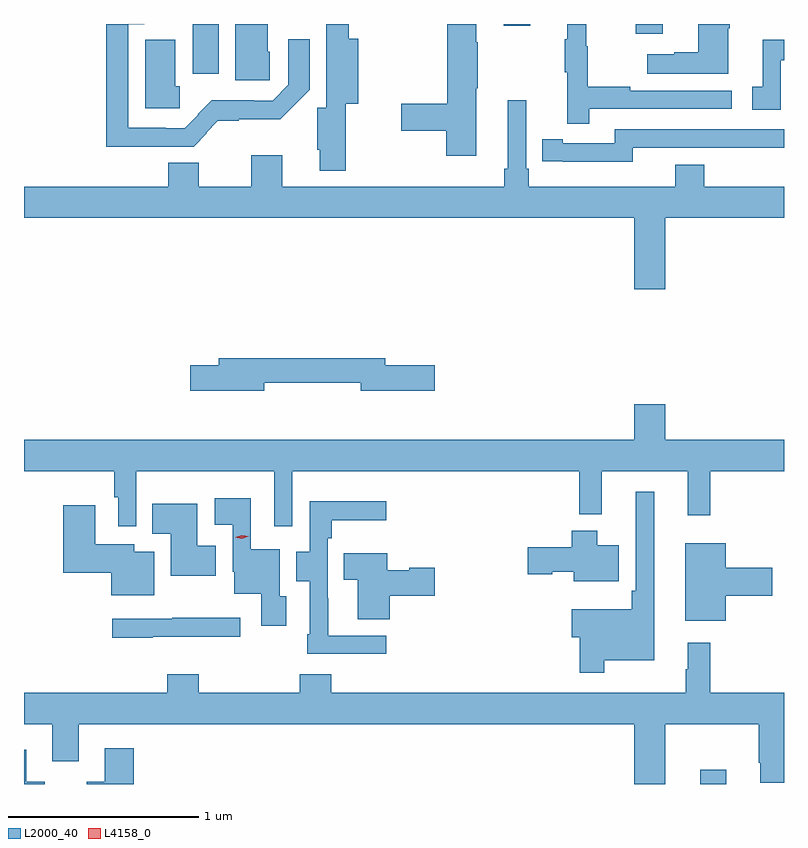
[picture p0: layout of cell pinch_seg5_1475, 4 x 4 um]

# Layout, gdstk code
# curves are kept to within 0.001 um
import gdstk
lib = gdstk.Library(unit=1e-6, precision=1e-09)
def R(c, l, rs):  # rectangles x0, y0, x1, y1
    for r in rs: c.add(gdstk.rectangle(r[:2], r[2:], *l))
def P(c, l, *ps):  # polygons
    for p in ps: c.add(gdstk.Polygon(p, *l))
L2000_40 = (2000, 40)
L4158_0 = (4158, 0)

pinch_seg5_1475 = lib.new_cell('pinch_seg5_1475')
R(pinch_seg5_1475, L2000_40, [(369.152,833.801,369.289,833.875), (366.479,837.54,366.616,837.801), (368.813,837.75,368.953,837.801), (368.117,837.792,368.257,837.801)])
P(pinch_seg5_1475, L2000_40, [(366.555,837.225),(366.551,837.229),(366.613,837.291),(366.721,837.291),(366.721,837.299),(366.941,837.299),(367.096,837.456),(367.096,837.721),(366.984,837.721),(366.984,837.48),(366.9,837.396),(366.8,837.396),(366.8,837.401),(366.581,837.401),(366.507,837.327),(366.51,837.324),(366.438,837.252),(366.338,837.252),(366.338,837.256),(366.141,837.256),(366.141,837.8),(366.224,837.801),(366.025,837.801),(366.025,837.155),(366.485,837.155)],
  [(366.885,837.654),(366.874,837.654),(366.874,837.801),(366.704,837.801),(366.704,837.504),(366.885,837.504)],
  [(367.286,837.38),(367.35,837.38),(367.35,837.724),(367.301,837.724),(367.301,837.801),(367.184,837.801),(367.184,837.36),(367.136,837.36),(367.136,837.139),(367.148,837.139),(367.148,837.029),(367.286,837.029)],
  [(368.567,837.354),(369.316,837.354),(369.316,837.45),(368.783,837.45),(368.783,837.47),(368.56,837.47),(368.56,837.684),(368.552,837.684),(368.552,837.801),(368.45,837.801),(368.45,837.721),(368.439,837.721),(368.439,837.547),(368.45,837.547),(368.45,837.276),(368.567,837.276)],
  [(369.298,837.779),(369.306,837.779),(369.306,837.801),(369.14,837.801),(369.14,837.653),(369.014,837.653),(369.014,837.643),(368.871,837.643),(368.871,837.539),(369.298,837.539)],
  [(367.972,837.463),(367.98,837.463),(367.98,837.704),(367.972,837.704),(367.972,837.801),(367.819,837.801),(367.819,837.38),(367.578,837.38),(367.578,837.238),(367.814,837.238),(367.814,837.108),(367.972,837.108)],
  [(366.411,837.474),(366.388,837.474),(366.388,837.719),(366.23,837.719),(366.23,837.357),(366.411,837.357)],
  [(369.576,837.609),(369.592,837.609),(369.592,837.718),(369.479,837.718),(369.479,837.471),(369.426,837.471),(369.426,837.351),(369.576,837.351)],
  [(368.968,836.78),(369.592,836.78),(369.592,836.944),(369.173,836.944),(369.173,837.061),(369.02,837.061),(369.02,836.944),(368.249,836.944),(368.249,837.04),(368.235,837.04),(368.235,837.4),(368.138,837.4),(368.138,837.04),(368.119,837.04),(368.119,836.944),(366.952,836.944),(366.952,837.109),(366.788,837.109),(366.788,836.944),(366.511,836.944),(366.511,837.07),(366.35,837.07),(366.35,836.944),(365.592,836.944),(365.592,836.78),(368.804,836.78),(368.804,836.406),(368.968,836.406)],
  [(368.796,837.15),(369.256,837.15),(369.256,837.149),(369.592,837.149),(369.592,837.246),(368.7,837.246),(368.7,837.174),(368.428,837.174),(368.428,837.194),(368.32,837.194),(368.32,837.078),(368.428,837.078),(368.428,837.077),(368.796,837.077)],
  [(366.856,835.914),(367.364,835.914),(367.364,835.871),(367.753,835.871),(367.753,836.006),(367.492,836.006),(367.492,836.042),(366.617,836.042),(366.617,836.006),(366.468,836.006),(366.468,835.871),(366.856,835.871)],
  [(366.183,835.448),(366.909,835.448),(366.909,835.158),(367.005,835.158),(367.005,835.448),(368.515,835.448),(368.515,835.22),(368.633,835.22),(368.633,835.448),(369.086,835.448),(369.086,835.215),(369.203,835.215),(369.203,835.448),(369.592,835.448),(369.592,835.612),(368.968,835.612),(368.968,835.801),(368.804,835.801),(368.804,835.612),(365.592,835.612),(365.592,835.448),(366.067,835.448),(366.067,835.311),(366.087,835.311),(366.087,835.158),(366.183,835.158)],
  [(368.647,834.452),(368.908,834.452),(368.908,835.339),(368.811,835.339),(368.811,834.817),(368.791,834.817),(368.791,834.721),(368.474,834.721),(368.474,834.574),(368.518,834.574),(368.518,834.387),(368.647,834.387)],
  [(366.973,834.789),(366.937,834.789),(366.937,835.036),(366.786,835.036),(366.786,835.306),(366.597,835.306),(366.597,835.166),(366.69,835.166),(366.69,834.918),(366.698,834.918),(366.698,834.803),(366.84,834.803),(366.84,834.633),(366.973,834.633)],
  [(367.498,834.582),(367.192,834.582),(367.192,834.779),(367.191,834.779),(367.191,835.094),(367.211,835.094),(367.211,835.19),(367.498,835.19),(367.498,835.288),(367.095,835.288),(367.095,835.023),(367.025,835.023),(367.025,834.868),(367.095,834.868),(367.095,834.589),(367.083,834.589),(367.083,834.486),(367.498,834.486)],
  [(366.601,835.054),(366.505,835.054),(366.505,835.276),(366.268,835.276),(366.268,835.118),(366.365,835.118),(366.365,834.896),(366.601,834.896)],
  [(366.277,835.024),(366.172,835.024),(366.172,835.062),(365.968,835.062),(365.968,835.267),(365.798,835.267),(365.798,834.914),(366.05,834.914),(366.05,834.794),(366.277,834.794)],
  [(368.722,835.057),(368.608,835.057),(368.608,835.135),(368.474,835.135),(368.474,835.047),(368.244,835.047),(368.244,834.905),(368.373,834.905),(368.373,834.917),(368.486,834.917),(368.486,834.869),(368.722,834.869)],
  [(369.286,834.791),(369.529,834.791),(369.529,834.938),(369.286,834.938),(369.286,835.069),(369.071,835.069),(369.071,834.659),(369.286,834.659)],
  [(367.517,834.791),(367.753,834.791),(367.753,834.938),(367.62,834.938),(367.62,834.925),(367.504,834.925),(367.504,835.015),(367.276,835.015),(367.276,834.875),(367.349,834.875),(367.349,834.667),(367.517,834.667)],
  [(366.269,834.575),(366.73,834.575),(366.73,834.675),(366.373,834.675),(366.373,834.672),(366.057,834.672),(366.057,834.571),(366.269,834.571)],
  [(368.968,834.116),(369.46,834.116),(369.46,833.914),(369.467,833.914),(369.467,833.807),(369.592,833.807),(369.592,834.28),(369.203,834.28),(369.203,834.544),(369.086,834.544),(369.086,834.404),(369.075,834.404),(369.075,834.28),(367.208,834.28),(367.208,834.379),(367.043,834.379),(367.043,834.28),(366.512,834.28),(366.512,834.379),(366.347,834.379),(366.347,834.28),(365.592,834.28),(365.592,834.116),(365.741,834.116),(365.741,833.922),(365.881,833.922),(365.881,834.116),(368.804,834.116),(368.804,833.801),(368.968,833.801)],
  [(366.17,833.989),(366.017,833.989),(366.017,833.812),(365.921,833.812),(365.921,833.801),(366.17,833.801)],
  [(365.701,833.812),(365.605,833.812),(365.605,833.98),(365.592,833.98),(365.592,833.801),(365.701,833.801)])
P(pinch_seg5_1475, L4158_0, [(366.739,835.091),(366.704,835.099),(366.703,835.099),(366.704,835.099),(366.738,835.111),(366.774,835.104),(366.774,835.104),(366.774,835.104)])

lib.write_gds('pinch_seg5_1475.gds')
